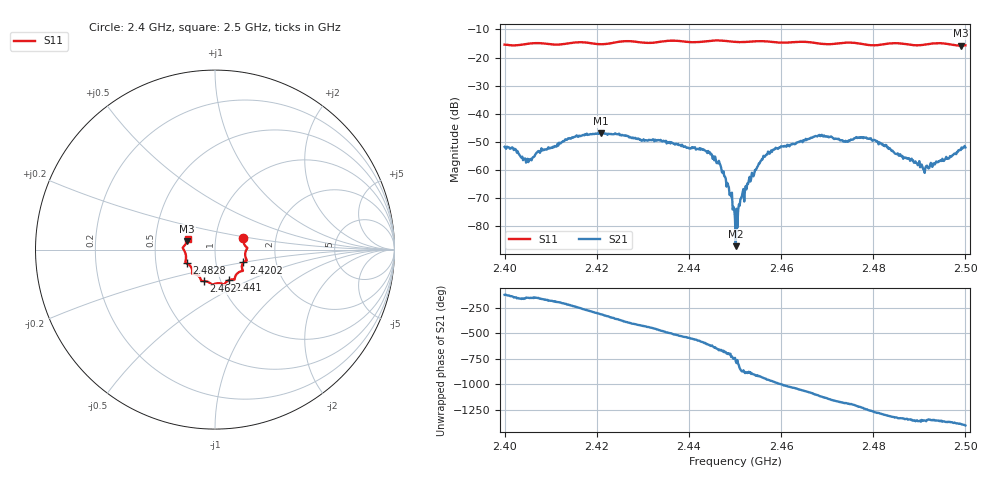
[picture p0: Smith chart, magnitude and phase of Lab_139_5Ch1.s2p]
# Hz S RI R 50
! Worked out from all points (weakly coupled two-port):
!   601 points, 2.4 GHz to 2.5 GHz, reference 50 ohm
!   highest |S21| = -46.86 dB at 2.4208 GHz (marker M1); lowest = -87.0 dB at 2.4502 GHz (marker M2)
!   lowest |S11| = -15.8 dB at 2.499 GHz (marker M3), VSWR 1.39, Z = 36.4 + j3.54 ohm
!   |S11| at or under -10 dB: start of sweep to end of sweep
!   S12 and S22 are empty: the file has one direction only
!   S11 on the Smith chart (normalised r, x): 2.4 GHz: 1.36, +0.17; 2.4202 GHz: 1.36, -0.20; 2.441 GHz: 1.10, -0.39; 2.462 GHz: 0.84, -0.30; 2.4828 GHz: 0.72, -0.11; 2.5 GHz: 0.73, +0.09
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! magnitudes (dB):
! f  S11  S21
! 2.4 GHz  -15.4  -51.7
! 2.4052 GHz  -15.1  -57.1
! 2.4167 GHz  -14.6  -47.7
! 2.4202 GHz  -15.2  -47.1
! 2.4208 GHz  -15.3  -46.9
! 2.4333 GHz  -14.5  -49.3
! 2.441 GHz  -14.6  -51.9
! 2.4443 GHz  -14.1  -53.8
! 2.4465 GHz  -13.9  -56.7
! 2.4488 GHz  -14.3  -68.8
! 2.45 GHz  -14.4  -77.2
! 2.4502 GHz  -14.5  -87.0
! 2.4527 GHz  -14.4  -64.7
! 2.4558 GHz  -14.2  -56.1
! 2.462 GHz  -14.6  -51.0
! 2.4667 GHz  -14.6  -48.5
! 2.478 GHz  -15.3  -48.4
! 2.4828 GHz  -15.1  -51.1
! 2.4833 GHz  -15.0  -52.5
! 2.4913 GHz  -15.4  -59.0
! 2.499 GHz  -15.8  -52.9
! 2.5 GHz  -15.7  -51.9
